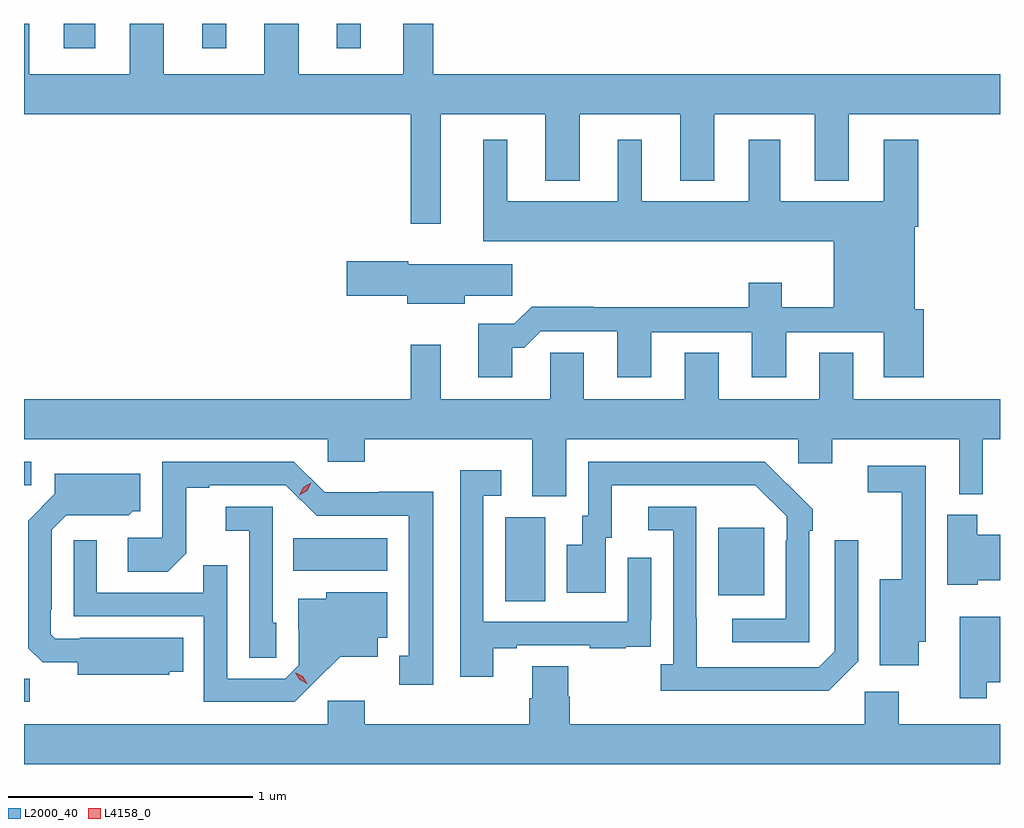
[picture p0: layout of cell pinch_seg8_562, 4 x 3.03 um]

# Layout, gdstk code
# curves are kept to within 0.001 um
import gdstk
lib = gdstk.Library(unit=1e-6, precision=1e-09)
def R(c, l, rs):  # rectangles x0, y0, x1, y1
    for r in rs: c.add(gdstk.rectangle(r[:2], r[2:], *l))
def P(c, l, *ps):  # polygons
    for p in ps: c.add(gdstk.Polygon(p, *l))
L2000_40 = (2000, 40)
L4158_0 = (4158, 0)

pinch_seg8_562 = lib.new_cell('pinch_seg8_562')
R(pinch_seg8_562, L2000_40, [(159.574,1087.452,159.597,1087.547), (161.546,1087.864,161.71,1088.208), (162.419,1087.889,162.607,1088.164), (160.678,1087.988,161.062,1088.122), (159.574,1088.34,159.604,1088.436), (159.737,1090.131,159.865,1090.23), (160.304,1090.131,160.402,1090.23), (160.856,1090.131,160.954,1090.23)])
P(pinch_seg8_562, L2000_40, [(161.281,1089.86),(161.711,1089.86),(161.711,1089.587),(161.851,1089.587),(161.851,1089.86),(162.263,1089.86),(162.263,1089.587),(162.403,1089.587),(162.403,1089.86),(162.815,1089.86),(162.815,1089.587),(162.955,1089.587),(162.955,1089.86),(163.574,1089.86),(163.574,1090.024),(161.251,1090.024),(161.251,1090.23),(161.129,1090.23),(161.129,1090.024),(160.699,1090.024),(160.699,1090.23),(160.559,1090.23),(160.559,1090.024),(160.147,1090.024),(160.147,1090.23),(160.007,1090.23),(160.007,1090.024),(159.595,1090.024),(159.595,1090.23),(159.574,1090.23),(159.574,1089.86),(161.16,1089.86),(161.16,1089.411),(161.281,1089.411)],
  [(161.575,1088.903),(161.624,1088.903),(161.691,1088.97),(162.005,1088.97),(162.005,1088.781),(162.145,1088.781),(162.145,1088.967),(162.557,1088.967),(162.557,1088.781),(162.697,1088.781),(162.697,1088.967),(163.097,1088.967),(163.097,1088.781),(163.262,1088.781),(163.262,1089.06),(163.225,1089.06),(163.225,1089.398),(163.238,1089.398),(163.238,1089.754),(163.097,1089.754),(163.097,1089.502),(162.673,1089.502),(162.673,1089.754),(162.545,1089.754),(162.545,1089.502),(162.106,1089.502),(162.106,1089.754),(162.008,1089.754),(162.008,1089.502),(161.554,1089.502),(161.554,1089.754),(161.456,1089.754),(161.456,1089.338),(162.893,1089.338),(162.893,1089.068),(162.679,1089.068),(162.679,1089.169),(162.545,1089.169),(162.545,1089.068),(161.909,1089.068),(161.909,1089.071),(161.654,1089.071),(161.584,1089.001),(161.435,1089.001),(161.435,1088.781),(161.575,1088.781)],
  [(161.38,1089.115),(161.575,1089.115),(161.575,1089.244),(161.148,1089.244),(161.148,1089.257),(160.896,1089.257),(160.896,1089.115),(161.144,1089.115),(161.144,1089.083),(161.38,1089.083)],
  [(162.973,1088.882),(162.833,1088.882),(162.833,1088.692),(162.421,1088.692),(162.421,1088.882),(162.281,1088.882),(162.281,1088.692),(161.869,1088.692),(161.869,1088.882),(161.73,1088.882),(161.73,1088.692),(161.281,1088.692),(161.281,1088.914),(161.16,1088.914),(161.16,1088.692),(159.574,1088.692),(159.574,1088.528),(160.818,1088.528),(160.818,1088.435),(160.97,1088.435),(160.97,1088.528),(161.657,1088.528),(161.657,1088.293),(161.797,1088.293),(161.797,1088.528),(162.747,1088.528),(162.747,1088.43),(162.886,1088.43),(162.886,1088.528),(163.406,1088.528),(163.406,1088.303),(163.504,1088.303),(163.504,1088.528),(163.574,1088.528),(163.574,1088.692),(162.973,1088.692)],
  [(161.251,1088.312),(161.028,1088.312),(161.028,1088.31),(160.806,1088.31),(160.68,1088.436),(160.14,1088.436),(160.14,1088.124),(159.999,1088.124),(159.999,1087.984),(160.163,1087.984),(160.239,1088.06),(160.239,1088.328),(160.333,1088.328),(160.333,1088.34),(160.647,1088.34),(160.773,1088.214),(161.15,1088.214),(161.15,1087.641),(161.111,1087.641),(161.111,1087.521),(161.251,1087.521)],
  [(162.792,1088.153),(162.807,1088.153),(162.807,1088.241),(162.61,1088.436),(161.886,1088.436),(161.886,1088.214),(161.861,1088.214),(161.861,1088.095),(161.798,1088.095),(161.798,1087.899),(161.959,1087.899),(161.959,1088.124),(161.983,1088.124),(161.983,1088.34),(162.571,1088.34),(162.699,1088.211),(162.699,1088.111),(162.696,1088.111),(162.696,1087.791),(162.477,1087.791),(162.477,1087.695),(162.792,1087.695)],
  [(163.24,1087.697),(163.269,1087.697),(163.269,1088.418),(163.032,1088.418),(163.032,1088.31),(163.172,1088.31),(163.172,1087.954),(163.082,1087.954),(163.082,1087.602),(163.24,1087.602)],
  [(161.497,1087.671),(161.593,1087.671),(161.593,1087.683),(161.893,1087.683),(161.893,1087.671),(162.041,1087.671),(162.041,1087.677),(162.143,1087.677),(162.143,1087.786),(162.144,1087.786),(162.144,1088.041),(162.048,1088.041),(162.048,1087.779),(161.457,1087.779),(161.457,1088.295),(161.53,1088.295),(161.53,1088.401),(161.361,1088.401),(161.361,1087.554),(161.497,1087.554)],
  [(160.17,1087.574),(160.226,1087.574),(160.226,1087.714),(159.802,1087.714),(159.802,1087.71),(159.702,1087.71),(159.684,1087.728),(159.684,1087.828),(159.687,1087.828),(159.687,1088.157),(159.747,1088.217),(160.004,1088.216),(160.02,1088.232),(160.051,1088.232),(160.051,1088.386),(159.701,1088.386),(159.701,1088.304),(159.591,1088.194),(159.591,1087.672),(159.65,1087.613),(159.794,1087.613),(159.794,1087.562),(160.17,1087.562)],
  [(160.608,1087.776),(160.593,1087.776),(160.593,1088.25),(160.401,1088.25),(160.401,1088.153),(160.497,1088.153),(160.497,1087.633),(160.608,1087.633)],
  [(162.993,1087.617),(162.993,1088.113),(162.897,1088.113),(162.897,1087.659),(162.831,1087.593),(162.331,1087.593),(162.33,1088.25),(162.132,1088.25),(162.132,1088.154),(162.234,1088.154),(162.234,1087.606),(162.183,1087.606),(162.183,1087.496),(162.872,1087.496)],
  [(163.482,1087.949),(163.574,1087.949),(163.574,1088.137),(163.48,1088.137),(163.48,1088.218),(163.358,1088.218),(163.358,1087.931),(163.482,1087.931)],
  [(160.768,1087.535),(160.871,1087.637),(161.023,1087.637),(161.023,1087.713),(161.062,1087.713),(161.062,1087.9),(160.812,1087.9),(160.812,1087.873),(160.697,1087.873),(160.697,1087.744),(160.701,1087.744),(160.701,1087.602),(160.644,1087.545),(160.407,1087.545),(160.407,1088.012),(160.309,1088.012),(160.309,1087.899),(159.873,1087.899),(159.873,1088.113),(159.777,1088.113),(159.777,1087.803),(160.311,1087.803),(160.311,1087.452),(160.684,1087.452)],
  [(163.519,1087.532),(163.574,1087.532),(163.574,1087.801),(163.41,1087.801),(163.41,1087.467),(163.519,1087.467)],
  [(163.574,1087.36),(163.159,1087.36),(163.159,1087.492),(163.02,1087.492),(163.02,1087.36),(161.81,1087.36),(161.81,1087.473),(161.805,1087.473),(161.805,1087.598),(161.657,1087.598),(161.657,1087.466),(161.645,1087.466),(161.645,1087.36),(160.97,1087.36),(160.97,1087.456),(160.818,1087.456),(160.818,1087.36),(159.574,1087.36),(159.574,1087.196),(163.574,1087.196)])
P(pinch_seg8_562, L4158_0, [(160.734,1087.526),(160.704,1087.541),(160.686,1087.571),(160.686,1087.571),(160.687,1087.571),(160.717,1087.556),(160.734,1087.526),(160.734,1087.526)],
  [(160.702,1088.298),(160.702,1088.299),(160.719,1088.331),(160.751,1088.35),(160.751,1088.35),(160.751,1088.35),(160.734,1088.317),(160.702,1088.298)])

lib.write_gds('pinch_seg8_562.gds')
